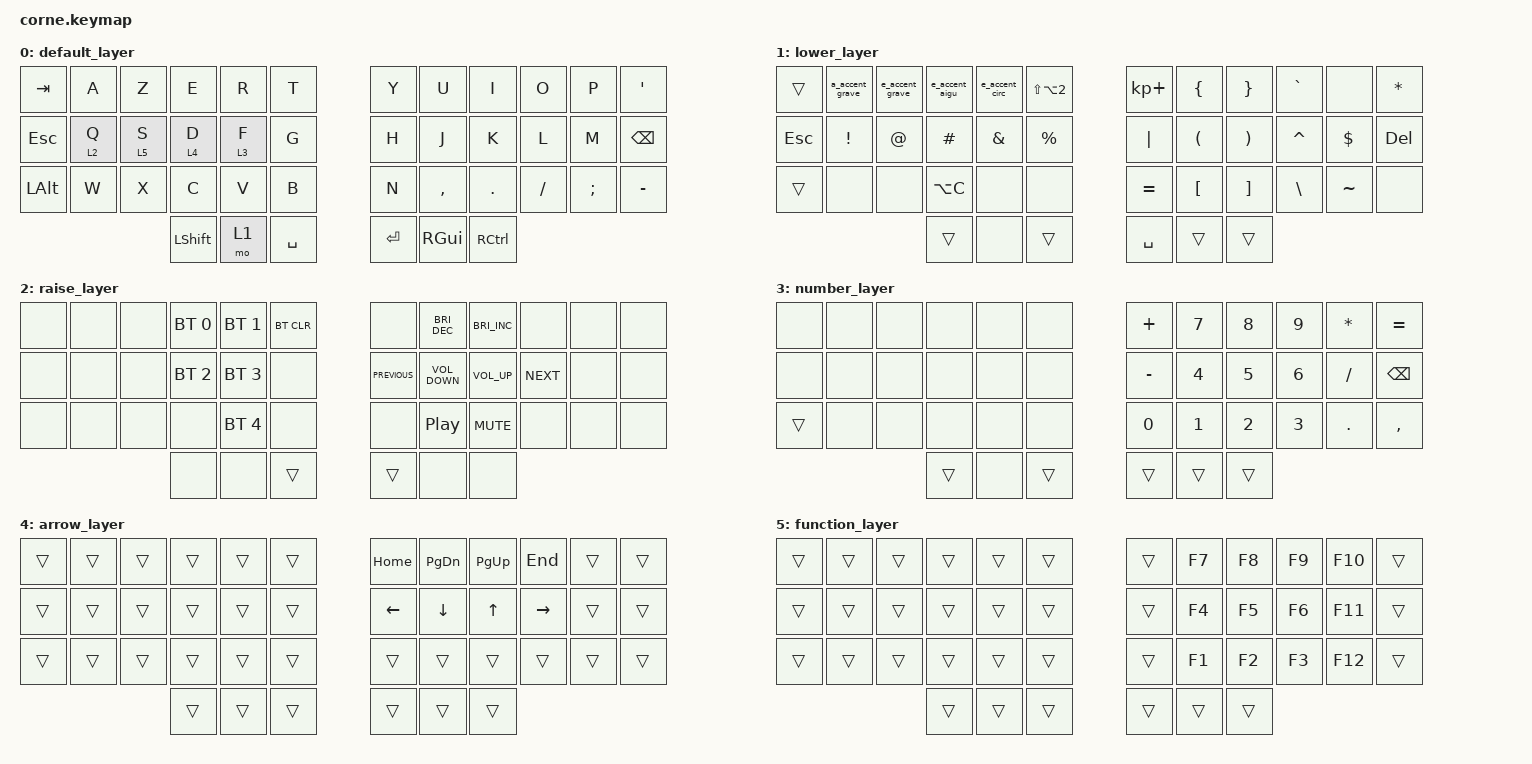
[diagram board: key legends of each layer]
/*
 * Copyright (c) 2020 The ZMK Contributors
 *
 * SPDX-License-Identifier: MIT
 */

#include <behaviors.dtsi>
#include <dt-bindings/zmk/bt.h>
#include <dt-bindings/zmk/keys.h>

/ {
    macros {
        e_accent_aigu: e_accent_aigu {
            compatible = "zmk,behavior-macro";
            #binding-cells = <0>;
            bindings = <&kp LA(E) &kp E>;
            label = "E_ACCENT_AIGU";
        };

        e_accent_grave: e_accent_grave {
            compatible = "zmk,behavior-macro";
            #binding-cells = <0>;
            bindings = <&kp LA(GRAVE) &kp E>;
            label = "E_ACCENT_GRAVE";
        };

        e_accent_circ: e_accent_circ {
            compatible = "zmk,behavior-macro";
            #binding-cells = <0>;
            bindings = <&kp LA(I) &kp E>;
            label = "E_ACCENT_CIRC";
        };

        a_accent_grave: a_accent_grave {
            compatible = "zmk,behavior-macro";
            #binding-cells = <0>;
            bindings = <&kp LA(GRAVE) &kp A>;
            label = "A_ACCENT_GRAVE";
        };
    };

    keymap {
        compatible = "zmk,keymap";

        default_layer {
            bindings = <
&kp TAB       &kp A    &kp Z    &kp E           &kp R    &kp T        &kp Y      &kp U          &kp I      &kp O      &kp P     &kp SINGLE_QUOTE
&kp ESCAPE    &lt 2 Q  &lt 5 S  &lt 4 D         &lt 3 F  &kp G        &kp H      &kp J          &kp K      &kp L      &kp M     &kp BACKSPACE
&kp LEFT_ALT  &kp W    &kp X    &kp C           &kp V    &kp B        &kp N      &kp COMMA      &kp DOT    &kp SLASH  &kp SEMI  &kp MINUS
                                &kp LEFT_SHIFT  &mo 1    &kp SPACE    &kp ENTER  &kp RIGHT_GUI  &kp RCTRL
            >;
        };

        lower_layer {
            bindings = <
&trans      &a_accent_grave  &e_accent_grave  &e_accent_aigu  &e_accent_circ  &kp LS(LA(NUMBER_2))    &kp KP_PLUS  &kp LEFT_BRACE        &kp RIGHT_BRACE        &kp GRAVE      &none       &kp ASTERISK
&kp ESCAPE  &kp EXCLAMATION  &kp AT           &kp HASH        &kp AMPERSAND   &kp PERCENT             &kp PIPE     &kp LEFT_PARENTHESIS  &kp RIGHT_PARENTHESIS  &kp CARET      &kp DOLLAR  &kp DEL
&trans      &none            &none            &kp LA(C)       &none           &none                   &kp EQUAL    &kp LEFT_BRACKET      &kp RIGHT_BRACKET      &kp BACKSLASH  &kp TILDE   &none
                                              &trans          &none           &trans                  &kp SPACE    &trans                &trans
            >;
        };

        raise_layer {
            bindings = <
&none  &none  &none  &bt BT_SEL 0  &bt BT_SEL 1  &bt BT_CLR    &none           &kp C_BRIGHTNESS_DEC  &kp C_BRIGHTNESS_INC  &none       &none  &none
&none  &none  &none  &bt BT_SEL 2  &bt BT_SEL 3  &none         &kp C_PREVIOUS  &kp C_VOLUME_DOWN     &kp C_VOL_UP          &kp C_NEXT  &none  &none
&none  &none  &none  &none         &bt BT_SEL 4  &none         &none           &kp C_PLAY_PAUSE      &kp C_MUTE            &none       &none  &none
                     &none         &none         &trans        &trans          &none                 &none
            >;
        };

        number_layer {
            bindings = <
&none   &none  &none  &none   &none  &none     &kp PLUS   &kp N7        &kp N8        &kp N9        &kp ASTRK   &kp EQUAL
&none   &none  &none  &none   &none  &none     &kp MINUS  &kp NUMBER_4  &kp N5        &kp NUMBER_6  &kp SLASH   &kp BACKSPACE
&trans  &none  &none  &none   &none  &none     &kp N0     &kp NUMBER_1  &kp NUMBER_2  &kp NUMBER_3  &kp PERIOD  &kp COMMA
                      &trans  &none  &trans    &trans     &trans        &trans
            >;
        };

        arrow_layer {
            bindings = <
&trans  &trans  &trans  &trans  &trans  &trans    &kp HOME        &kp PAGE_DOWN   &kp PAGE_UP   &kp END    &trans  &trans
&trans  &trans  &trans  &trans  &trans  &trans    &kp LEFT_ARROW  &kp DOWN_ARROW  &kp UP_ARROW  &kp RIGHT  &trans  &trans
&trans  &trans  &trans  &trans  &trans  &trans    &trans          &trans          &trans        &trans     &trans  &trans
                        &trans  &trans  &trans    &trans          &trans          &trans
            >;
        };

        function_layer {
            bindings = <
&trans  &trans  &trans  &trans  &trans  &trans    &trans  &kp F7  &kp F8  &kp F9  &kp F10  &trans
&trans  &trans  &trans  &trans  &trans  &trans    &trans  &kp F4  &kp F5  &kp F6  &kp F11  &trans
&trans  &trans  &trans  &trans  &trans  &trans    &trans  &kp F1  &kp F2  &kp F3  &kp F12  &trans
                        &trans  &trans  &trans    &trans  &trans  &trans
            >;
        };
    };
};
